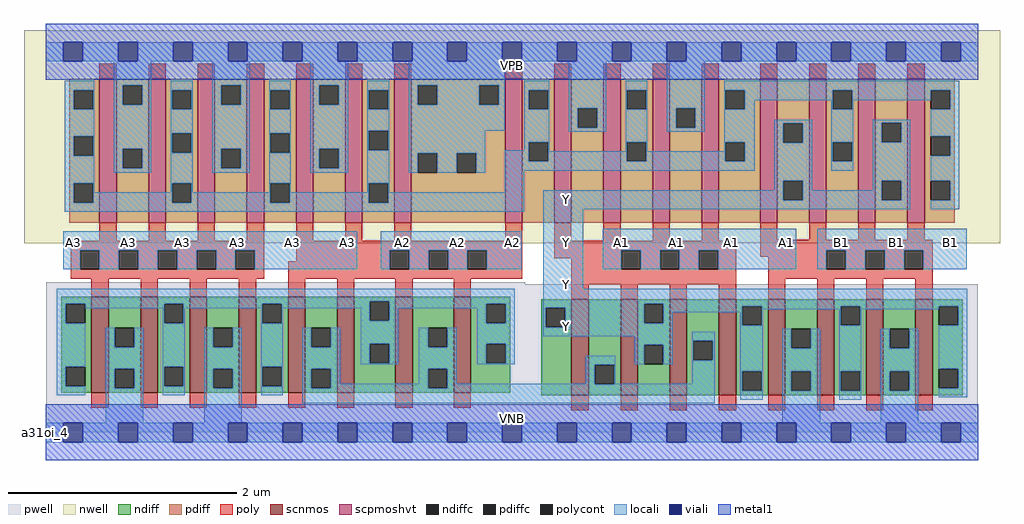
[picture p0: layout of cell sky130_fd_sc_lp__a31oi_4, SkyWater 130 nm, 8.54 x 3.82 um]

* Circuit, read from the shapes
.subckt sky130_fd_sc_lp__a31oi_4 A1 A2 A3 B1 VGND VNB VPB VPWR Y
XM1 VGND A3 n1 VNB sky130_fd_pr__nfet_01v8 w=0.84 l=0.15 m=4
XM2 n2 A2 n1 VNB sky130_fd_pr__nfet_01v8 w=0.84 l=0.15 m=4
XM3 n2 A1 Y VNB sky130_fd_pr__nfet_01v8 w=0.84 l=0.15 m=4
XM4 VGND B1 Y VNB sky130_fd_pr__nfet_01v8 w=0.84 l=0.15 m=4
XM5 VPWR A3 n3 VPB sky130_fd_pr__pfet_01v8_hvt w=1.26 l=0.15 m=4
XM6 VPWR A2 n3 VPB sky130_fd_pr__pfet_01v8_hvt w=1.26 l=0.15 m=4
XM7 VPWR A1 n3 VPB sky130_fd_pr__pfet_01v8_hvt w=1.26 l=0.15 m=4
XM8 Y B1 n3 VPB sky130_fd_pr__pfet_01v8_hvt w=1.26 l=0.15 m=4
.ends

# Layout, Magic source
magic
tech sky130A
magscale 1 2
<< nwell >>
rect -38 331 1670 704
<< pwell >>
rect 1 259 839 263
rect 1 49 1631 259
rect 0 0 1632 49
<< scnmos >>
rect 80 69 110 237
rect 166 69 196 237
rect 252 69 282 237
rect 338 69 368 237
rect 424 69 454 237
rect 510 69 540 237
rect 612 69 642 237
rect 714 69 744 237
rect 920 65 950 233
rect 1006 65 1036 233
rect 1092 65 1122 233
rect 1178 65 1208 233
rect 1264 65 1294 233
rect 1350 65 1380 233
rect 1436 65 1466 233
rect 1522 65 1552 233
<< scpmoshvt >>
rect 94 367 124 619
rect 180 367 210 619
rect 266 367 296 619
rect 352 367 382 619
rect 438 367 468 619
rect 524 367 554 619
rect 610 367 640 619
rect 804 367 834 619
rect 890 367 920 619
rect 976 367 1006 619
rect 1062 367 1092 619
rect 1148 367 1178 619
rect 1250 367 1280 619
rect 1336 367 1366 619
rect 1422 367 1452 619
rect 1508 367 1538 619
<< ndiff >>
rect 27 225 80 237
rect 27 191 35 225
rect 69 191 80 225
rect 27 115 80 191
rect 27 81 35 115
rect 69 81 80 115
rect 27 69 80 81
rect 110 183 166 237
rect 110 149 121 183
rect 155 149 166 183
rect 110 111 166 149
rect 110 77 121 111
rect 155 77 166 111
rect 110 69 166 77
rect 196 225 252 237
rect 196 191 207 225
rect 241 191 252 225
rect 196 115 252 191
rect 196 81 207 115
rect 241 81 252 115
rect 196 69 252 81
rect 282 183 338 237
rect 282 149 293 183
rect 327 149 338 183
rect 282 111 338 149
rect 282 77 293 111
rect 327 77 338 111
rect 282 69 338 77
rect 368 225 424 237
rect 368 191 379 225
rect 413 191 424 225
rect 368 115 424 191
rect 368 81 379 115
rect 413 81 424 115
rect 368 69 424 81
rect 454 183 510 237
rect 454 149 465 183
rect 499 149 510 183
rect 454 111 510 149
rect 454 77 465 111
rect 499 77 510 111
rect 454 69 510 77
rect 540 229 612 237
rect 540 195 567 229
rect 601 195 612 229
rect 540 155 612 195
rect 540 121 567 155
rect 601 121 612 155
rect 540 69 612 121
rect 642 183 714 237
rect 642 149 669 183
rect 703 149 714 183
rect 642 111 714 149
rect 642 77 669 111
rect 703 77 714 111
rect 642 69 714 77
rect 744 225 813 237
rect 744 191 771 225
rect 805 191 813 225
rect 744 155 813 191
rect 744 121 771 155
rect 805 121 813 155
rect 744 69 813 121
rect 867 218 920 233
rect 867 184 875 218
rect 909 184 920 218
rect 867 65 920 184
rect 950 118 1006 233
rect 950 84 961 118
rect 995 84 1006 118
rect 950 65 1006 84
rect 1036 225 1092 233
rect 1036 191 1047 225
rect 1081 191 1092 225
rect 1036 153 1092 191
rect 1036 119 1047 153
rect 1081 119 1092 153
rect 1036 65 1092 119
rect 1122 160 1178 233
rect 1122 126 1133 160
rect 1167 126 1178 160
rect 1122 65 1178 126
rect 1208 221 1264 233
rect 1208 187 1219 221
rect 1253 187 1264 221
rect 1208 107 1264 187
rect 1208 73 1219 107
rect 1253 73 1264 107
rect 1208 65 1264 73
rect 1294 181 1350 233
rect 1294 147 1305 181
rect 1339 147 1350 181
rect 1294 107 1350 147
rect 1294 73 1305 107
rect 1339 73 1350 107
rect 1294 65 1350 73
rect 1380 221 1436 233
rect 1380 187 1391 221
rect 1425 187 1436 221
rect 1380 107 1436 187
rect 1380 73 1391 107
rect 1425 73 1436 107
rect 1380 65 1436 73
rect 1466 181 1522 233
rect 1466 147 1477 181
rect 1511 147 1522 181
rect 1466 107 1522 147
rect 1466 73 1477 107
rect 1511 73 1522 107
rect 1466 65 1522 73
rect 1552 221 1605 233
rect 1552 187 1563 221
rect 1597 187 1605 221
rect 1552 111 1605 187
rect 1552 77 1563 111
rect 1597 77 1605 111
rect 1552 65 1605 77
<< pdiff >>
rect 41 599 94 619
rect 41 565 49 599
rect 83 565 94 599
rect 41 518 94 565
rect 41 484 49 518
rect 83 484 94 518
rect 41 436 94 484
rect 41 402 49 436
rect 83 402 94 436
rect 41 367 94 402
rect 124 607 180 619
rect 124 573 135 607
rect 169 573 180 607
rect 124 496 180 573
rect 124 462 135 496
rect 169 462 180 496
rect 124 367 180 462
rect 210 599 266 619
rect 210 565 221 599
rect 255 565 266 599
rect 210 523 266 565
rect 210 489 221 523
rect 255 489 266 523
rect 210 436 266 489
rect 210 402 221 436
rect 255 402 266 436
rect 210 367 266 402
rect 296 607 352 619
rect 296 573 307 607
rect 341 573 352 607
rect 296 496 352 573
rect 296 462 307 496
rect 341 462 352 496
rect 296 367 352 462
rect 382 599 438 619
rect 382 565 393 599
rect 427 565 438 599
rect 382 523 438 565
rect 382 489 393 523
rect 427 489 438 523
rect 382 436 438 489
rect 382 402 393 436
rect 427 402 438 436
rect 382 367 438 402
rect 468 607 524 619
rect 468 573 479 607
rect 513 573 524 607
rect 468 496 524 573
rect 468 462 479 496
rect 513 462 524 496
rect 468 367 524 462
rect 554 599 610 619
rect 554 565 565 599
rect 599 565 610 599
rect 554 528 610 565
rect 554 494 565 528
rect 599 494 610 528
rect 554 436 610 494
rect 554 402 565 436
rect 599 402 610 436
rect 554 367 610 402
rect 640 607 804 619
rect 640 573 651 607
rect 685 573 759 607
rect 793 573 804 607
rect 640 488 804 573
rect 640 454 651 488
rect 685 454 719 488
rect 753 454 804 488
rect 640 367 804 454
rect 834 599 890 619
rect 834 565 845 599
rect 879 565 890 599
rect 834 508 890 565
rect 834 474 845 508
rect 879 474 890 508
rect 834 367 890 474
rect 920 567 976 619
rect 920 533 931 567
rect 965 533 976 567
rect 920 367 976 533
rect 1006 599 1062 619
rect 1006 565 1017 599
rect 1051 565 1062 599
rect 1006 508 1062 565
rect 1006 474 1017 508
rect 1051 474 1062 508
rect 1006 367 1062 474
rect 1092 567 1148 619
rect 1092 533 1103 567
rect 1137 533 1148 567
rect 1092 367 1148 533
rect 1178 599 1250 619
rect 1178 565 1189 599
rect 1223 565 1250 599
rect 1178 508 1250 565
rect 1178 474 1189 508
rect 1223 474 1250 508
rect 1178 367 1250 474
rect 1280 541 1336 619
rect 1280 507 1291 541
rect 1325 507 1336 541
rect 1280 440 1336 507
rect 1280 406 1291 440
rect 1325 406 1336 440
rect 1280 367 1336 406
rect 1366 599 1422 619
rect 1366 565 1377 599
rect 1411 565 1422 599
rect 1366 508 1422 565
rect 1366 474 1377 508
rect 1411 474 1422 508
rect 1366 367 1422 474
rect 1452 542 1508 619
rect 1452 508 1463 542
rect 1497 508 1508 542
rect 1452 440 1508 508
rect 1452 406 1463 440
rect 1497 406 1508 440
rect 1452 367 1508 406
rect 1538 599 1591 619
rect 1538 565 1549 599
rect 1583 565 1591 599
rect 1538 518 1591 565
rect 1538 484 1549 518
rect 1583 484 1591 518
rect 1538 440 1591 484
rect 1538 406 1549 440
rect 1583 406 1591 440
rect 1538 367 1591 406
<< ndiffc >>
rect 35 191 69 225
rect 35 81 69 115
rect 121 149 155 183
rect 121 77 155 111
rect 207 191 241 225
rect 207 81 241 115
rect 293 149 327 183
rect 293 77 327 111
rect 379 191 413 225
rect 379 81 413 115
rect 465 149 499 183
rect 465 77 499 111
rect 567 195 601 229
rect 567 121 601 155
rect 669 149 703 183
rect 669 77 703 111
rect 771 191 805 225
rect 771 121 805 155
rect 875 184 909 218
rect 961 84 995 118
rect 1047 191 1081 225
rect 1047 119 1081 153
rect 1133 126 1167 160
rect 1219 187 1253 221
rect 1219 73 1253 107
rect 1305 147 1339 181
rect 1305 73 1339 107
rect 1391 187 1425 221
rect 1391 73 1425 107
rect 1477 147 1511 181
rect 1477 73 1511 107
rect 1563 187 1597 221
rect 1563 77 1597 111
<< pdiffc >>
rect 49 565 83 599
rect 49 484 83 518
rect 49 402 83 436
rect 135 573 169 607
rect 135 462 169 496
rect 221 565 255 599
rect 221 489 255 523
rect 221 402 255 436
rect 307 573 341 607
rect 307 462 341 496
rect 393 565 427 599
rect 393 489 427 523
rect 393 402 427 436
rect 479 573 513 607
rect 479 462 513 496
rect 565 565 599 599
rect 565 494 599 528
rect 565 402 599 436
rect 651 573 685 607
rect 759 573 793 607
rect 651 454 685 488
rect 719 454 753 488
rect 845 565 879 599
rect 845 474 879 508
rect 931 533 965 567
rect 1017 565 1051 599
rect 1017 474 1051 508
rect 1103 533 1137 567
rect 1189 565 1223 599
rect 1189 474 1223 508
rect 1291 507 1325 541
rect 1291 406 1325 440
rect 1377 565 1411 599
rect 1377 474 1411 508
rect 1463 508 1497 542
rect 1463 406 1497 440
rect 1549 565 1583 599
rect 1549 484 1583 518
rect 1549 406 1583 440
<< poly >>
rect 94 619 124 645
rect 180 619 210 645
rect 266 619 296 645
rect 352 619 382 645
rect 438 619 468 645
rect 524 619 554 645
rect 610 619 640 645
rect 804 619 834 645
rect 890 619 920 645
rect 976 619 1006 645
rect 1062 619 1092 645
rect 1148 619 1178 645
rect 1250 619 1280 645
rect 1336 619 1366 645
rect 1422 619 1452 645
rect 1508 619 1538 645
rect 94 335 124 367
rect 180 335 210 367
rect 266 335 296 367
rect 352 335 382 367
rect 44 319 382 335
rect 44 285 60 319
rect 94 285 128 319
rect 162 285 196 319
rect 230 285 264 319
rect 298 285 332 319
rect 366 285 382 319
rect 438 335 468 367
rect 524 335 554 367
rect 610 335 640 367
rect 804 335 834 367
rect 438 319 834 335
rect 438 299 602 319
rect 44 269 382 285
rect 424 285 602 299
rect 636 285 670 319
rect 704 285 738 319
rect 772 285 834 319
rect 890 335 920 367
rect 976 335 1006 367
rect 1062 335 1092 367
rect 1148 335 1178 367
rect 1250 337 1280 367
rect 1336 337 1366 367
rect 1422 337 1452 367
rect 1508 337 1538 367
rect 890 319 1208 335
rect 890 305 1007 319
rect 424 269 834 285
rect 920 285 1007 305
rect 1041 285 1075 319
rect 1109 285 1143 319
rect 1177 285 1208 319
rect 1250 319 1552 337
rect 1250 307 1366 319
rect 80 237 110 269
rect 166 237 196 269
rect 252 237 282 269
rect 338 237 368 269
rect 424 237 454 269
rect 510 237 540 269
rect 612 237 642 269
rect 714 237 744 269
rect 920 259 1208 285
rect 920 233 950 259
rect 1006 233 1036 259
rect 1092 233 1122 259
rect 1178 233 1208 259
rect 1264 285 1366 307
rect 1400 285 1434 319
rect 1468 285 1502 319
rect 1536 285 1552 319
rect 1264 269 1552 285
rect 1264 233 1294 269
rect 1350 233 1380 269
rect 1436 233 1466 269
rect 1522 233 1552 269
rect 80 43 110 69
rect 166 43 196 69
rect 252 43 282 69
rect 338 43 368 69
rect 424 43 454 69
rect 510 43 540 69
rect 612 43 642 69
rect 714 43 744 69
rect 920 39 950 65
rect 1006 39 1036 65
rect 1092 39 1122 65
rect 1178 39 1208 65
rect 1264 39 1294 65
rect 1350 39 1380 65
rect 1436 39 1466 65
rect 1522 39 1552 65
<< polycont >>
rect 60 285 94 319
rect 128 285 162 319
rect 196 285 230 319
rect 264 285 298 319
rect 332 285 366 319
rect 602 285 636 319
rect 670 285 704 319
rect 738 285 772 319
rect 1007 285 1041 319
rect 1075 285 1109 319
rect 1143 285 1177 319
rect 1366 285 1400 319
rect 1434 285 1468 319
rect 1502 285 1536 319
<< locali >>
rect 0 649 31 683
rect 65 649 127 683
rect 161 649 223 683
rect 257 649 319 683
rect 353 649 415 683
rect 449 649 511 683
rect 545 649 607 683
rect 641 649 703 683
rect 737 649 799 683
rect 833 649 895 683
rect 929 649 991 683
rect 1025 649 1087 683
rect 1121 649 1183 683
rect 1217 649 1279 683
rect 1313 649 1375 683
rect 1409 649 1471 683
rect 1505 649 1567 683
rect 1601 649 1632 683
rect 33 599 85 615
rect 33 565 49 599
rect 83 565 85 599
rect 33 518 85 565
rect 33 484 49 518
rect 83 484 85 518
rect 33 436 85 484
rect 119 607 185 649
rect 119 573 135 607
rect 169 573 185 607
rect 119 496 185 573
rect 119 462 135 496
rect 169 462 185 496
rect 119 454 185 462
rect 219 599 257 615
rect 219 565 221 599
rect 255 565 257 599
rect 219 523 257 565
rect 219 489 221 523
rect 255 489 257 523
rect 33 402 49 436
rect 83 420 85 436
rect 219 436 257 489
rect 291 607 357 649
rect 291 573 307 607
rect 341 573 357 607
rect 291 496 357 573
rect 291 462 307 496
rect 341 462 357 496
rect 291 454 357 462
rect 391 599 429 615
rect 391 565 393 599
rect 427 565 429 599
rect 391 523 429 565
rect 391 489 393 523
rect 427 489 429 523
rect 219 420 221 436
rect 83 402 221 420
rect 255 420 257 436
rect 391 436 429 489
rect 463 607 529 649
rect 463 573 479 607
rect 513 573 529 607
rect 463 496 529 573
rect 463 462 479 496
rect 513 462 529 496
rect 463 454 529 462
rect 563 599 601 615
rect 563 565 565 599
rect 599 565 601 599
rect 563 528 601 565
rect 563 494 565 528
rect 599 494 601 528
rect 391 420 393 436
rect 255 402 393 420
rect 427 420 429 436
rect 563 436 601 494
rect 635 607 803 649
rect 635 573 651 607
rect 685 573 759 607
rect 793 573 803 607
rect 635 528 803 573
rect 837 599 881 615
rect 837 565 845 599
rect 879 565 881 599
rect 635 488 769 528
rect 837 508 881 565
rect 915 567 981 649
rect 915 533 931 567
rect 965 533 981 567
rect 915 526 981 533
rect 1015 599 1053 615
rect 1015 565 1017 599
rect 1051 565 1053 599
rect 837 494 845 508
rect 635 454 651 488
rect 685 454 719 488
rect 753 454 769 488
rect 803 474 845 494
rect 879 492 881 508
rect 1015 508 1053 565
rect 1087 567 1153 649
rect 1087 533 1103 567
rect 1137 533 1153 567
rect 1087 526 1153 533
rect 1187 599 1599 615
rect 1187 565 1189 599
rect 1223 581 1377 599
rect 1223 565 1241 581
rect 1015 492 1017 508
rect 879 474 1017 492
rect 1051 492 1053 508
rect 1187 508 1241 565
rect 1375 565 1377 581
rect 1411 581 1549 599
rect 1411 565 1413 581
rect 1187 492 1189 508
rect 1051 474 1189 492
rect 1223 474 1241 508
rect 803 458 1241 474
rect 1275 541 1341 547
rect 1275 507 1291 541
rect 1325 507 1341 541
rect 563 420 565 436
rect 427 402 565 420
rect 599 420 601 436
rect 803 420 837 458
rect 1275 440 1341 507
rect 1375 508 1413 565
rect 1583 565 1599 599
rect 1375 474 1377 508
rect 1411 474 1413 508
rect 1375 458 1413 474
rect 1447 542 1513 547
rect 1447 508 1463 542
rect 1497 508 1513 542
rect 1275 424 1291 440
rect 599 402 837 420
rect 33 386 837 402
rect 871 406 1291 424
rect 1325 424 1341 440
rect 1447 440 1513 508
rect 1447 424 1463 440
rect 1325 406 1463 424
rect 1497 406 1513 440
rect 871 390 1513 406
rect 1549 518 1599 565
rect 1583 484 1599 518
rect 1549 440 1599 484
rect 1583 406 1599 440
rect 1549 390 1599 406
rect 31 319 545 352
rect 31 285 60 319
rect 94 285 128 319
rect 162 285 196 319
rect 230 285 264 319
rect 298 285 332 319
rect 366 285 545 319
rect 586 319 833 352
rect 586 285 602 319
rect 636 285 670 319
rect 704 285 738 319
rect 772 285 833 319
rect 871 251 941 390
rect 975 319 1313 356
rect 975 285 1007 319
rect 1041 285 1075 319
rect 1109 285 1143 319
rect 1177 285 1313 319
rect 1350 319 1612 356
rect 1350 285 1366 319
rect 1400 285 1434 319
rect 1468 285 1502 319
rect 1536 285 1612 319
rect 19 229 821 251
rect 19 225 567 229
rect 19 191 35 225
rect 69 217 207 225
rect 19 115 69 191
rect 205 191 207 217
rect 241 217 379 225
rect 241 191 243 217
rect 19 81 35 115
rect 19 65 69 81
rect 105 149 121 183
rect 155 149 171 183
rect 105 111 171 149
rect 105 77 121 111
rect 155 77 171 111
rect 105 17 171 77
rect 205 115 243 191
rect 377 191 379 217
rect 413 217 567 225
rect 413 191 415 217
rect 205 81 207 115
rect 241 81 243 115
rect 205 65 243 81
rect 277 149 293 183
rect 327 149 343 183
rect 277 111 343 149
rect 277 77 293 111
rect 327 77 343 111
rect 277 17 343 77
rect 377 115 415 191
rect 551 195 567 217
rect 601 225 821 229
rect 601 217 771 225
rect 601 195 617 217
rect 377 81 379 115
rect 413 81 415 115
rect 377 65 415 81
rect 449 149 465 183
rect 499 149 515 183
rect 449 111 515 149
rect 551 155 617 195
rect 755 191 771 217
rect 805 191 821 225
rect 551 121 567 155
rect 601 121 617 155
rect 551 119 617 121
rect 653 149 669 183
rect 703 149 719 183
rect 449 77 465 111
rect 499 85 515 111
rect 653 111 719 149
rect 755 155 821 191
rect 871 225 1613 251
rect 871 218 1047 225
rect 871 184 875 218
rect 909 191 1047 218
rect 1081 221 1613 225
rect 1081 210 1219 221
rect 1081 191 1097 210
rect 909 184 1097 191
rect 871 168 1097 184
rect 1215 187 1219 210
rect 1253 215 1391 221
rect 1253 187 1255 215
rect 755 121 771 155
rect 805 121 821 155
rect 1031 153 1097 168
rect 755 119 821 121
rect 653 85 669 111
rect 499 77 669 85
rect 703 85 719 111
rect 945 118 997 134
rect 1031 119 1047 153
rect 1081 119 1097 153
rect 1131 160 1171 176
rect 1131 126 1133 160
rect 1167 126 1171 160
rect 945 85 961 118
rect 703 84 961 85
rect 995 85 997 118
rect 1131 85 1171 126
rect 995 84 1171 85
rect 703 77 1171 84
rect 449 51 1171 77
rect 1215 107 1255 187
rect 1389 187 1391 215
rect 1425 215 1563 221
rect 1425 187 1427 215
rect 1215 73 1219 107
rect 1253 73 1255 107
rect 1215 57 1255 73
rect 1289 147 1305 181
rect 1339 147 1355 181
rect 1289 107 1355 147
rect 1289 73 1305 107
rect 1339 73 1355 107
rect 1289 17 1355 73
rect 1389 107 1427 187
rect 1597 187 1613 221
rect 1389 73 1391 107
rect 1425 73 1427 107
rect 1389 57 1427 73
rect 1461 147 1477 181
rect 1511 147 1527 181
rect 1461 107 1527 147
rect 1461 73 1477 107
rect 1511 73 1527 107
rect 1461 17 1527 73
rect 1563 111 1613 187
rect 1597 77 1613 111
rect 1563 61 1613 77
rect 0 -17 31 17
rect 65 -17 127 17
rect 161 -17 223 17
rect 257 -17 319 17
rect 353 -17 415 17
rect 449 -17 511 17
rect 545 -17 607 17
rect 641 -17 703 17
rect 737 -17 799 17
rect 833 -17 895 17
rect 929 -17 991 17
rect 1025 -17 1087 17
rect 1121 -17 1183 17
rect 1217 -17 1279 17
rect 1313 -17 1375 17
rect 1409 -17 1471 17
rect 1505 -17 1567 17
rect 1601 -17 1632 17
<< viali >>
rect 31 649 65 683
rect 127 649 161 683
rect 223 649 257 683
rect 319 649 353 683
rect 415 649 449 683
rect 511 649 545 683
rect 607 649 641 683
rect 703 649 737 683
rect 799 649 833 683
rect 895 649 929 683
rect 991 649 1025 683
rect 1087 649 1121 683
rect 1183 649 1217 683
rect 1279 649 1313 683
rect 1375 649 1409 683
rect 1471 649 1505 683
rect 1567 649 1601 683
rect 31 -17 65 17
rect 127 -17 161 17
rect 223 -17 257 17
rect 319 -17 353 17
rect 415 -17 449 17
rect 511 -17 545 17
rect 607 -17 641 17
rect 703 -17 737 17
rect 799 -17 833 17
rect 895 -17 929 17
rect 991 -17 1025 17
rect 1087 -17 1121 17
rect 1183 -17 1217 17
rect 1279 -17 1313 17
rect 1375 -17 1409 17
rect 1471 -17 1505 17
rect 1567 -17 1601 17
<< metal1 >>
rect 0 683 1632 715
rect 0 649 31 683
rect 65 649 127 683
rect 161 649 223 683
rect 257 649 319 683
rect 353 649 415 683
rect 449 649 511 683
rect 545 649 607 683
rect 641 649 703 683
rect 737 649 799 683
rect 833 649 895 683
rect 929 649 991 683
rect 1025 649 1087 683
rect 1121 649 1183 683
rect 1217 649 1279 683
rect 1313 649 1375 683
rect 1409 649 1471 683
rect 1505 649 1567 683
rect 1601 649 1632 683
rect 0 617 1632 649
rect 0 17 1632 49
rect 0 -17 31 17
rect 65 -17 127 17
rect 161 -17 223 17
rect 257 -17 319 17
rect 353 -17 415 17
rect 449 -17 511 17
rect 545 -17 607 17
rect 641 -17 703 17
rect 737 -17 799 17
rect 833 -17 895 17
rect 929 -17 991 17
rect 1025 -17 1087 17
rect 1121 -17 1183 17
rect 1217 -17 1279 17
rect 1313 -17 1375 17
rect 1409 -17 1471 17
rect 1505 -17 1567 17
rect 1601 -17 1632 17
rect 0 -49 1632 -17
<< labels >>
flabel pwell s 0 0 1632 49 0 FreeSans 200 0 0 0 VNB
port 6 nsew ground bidirectional
flabel nwell s 0 617 1632 666 0 FreeSans 200 0 0 0 VPB
port 7 nsew power bidirectional
rlabel comment s 0 0 0 0 4 a31oi_4
flabel metal1 s 0 617 1632 666 0 FreeSans 340 0 0 0 VPWR
port 8 nsew power bidirectional
flabel metal1 s 0 0 1632 49 0 FreeSans 340 0 0 0 VGND
port 5 nsew ground bidirectional
flabel locali s 991 316 1025 350 0 FreeSans 340 0 0 0 A1
port 1 nsew signal input
flabel locali s 1087 316 1121 350 0 FreeSans 340 0 0 0 A1
port 1 nsew signal input
flabel locali s 1183 316 1217 350 0 FreeSans 340 0 0 0 A1
port 1 nsew signal input
flabel locali s 1279 316 1313 350 0 FreeSans 340 0 0 0 A1
port 1 nsew signal input
flabel locali s 607 316 641 350 0 FreeSans 340 0 0 0 A2
port 2 nsew signal input
flabel locali s 703 316 737 350 0 FreeSans 340 0 0 0 A2
port 2 nsew signal input
flabel locali s 799 316 833 350 0 FreeSans 340 0 0 0 A2
port 2 nsew signal input
flabel locali s 31 316 65 350 0 FreeSans 340 0 0 0 A3
port 3 nsew signal input
flabel locali s 127 316 161 350 0 FreeSans 340 0 0 0 A3
port 3 nsew signal input
flabel locali s 223 316 257 350 0 FreeSans 340 0 0 0 A3
port 3 nsew signal input
flabel locali s 319 316 353 350 0 FreeSans 340 0 0 0 A3
port 3 nsew signal input
flabel locali s 415 316 449 350 0 FreeSans 340 0 0 0 A3
port 3 nsew signal input
flabel locali s 511 316 545 350 0 FreeSans 340 0 0 0 A3
port 3 nsew signal input
flabel locali s 1375 316 1409 350 0 FreeSans 340 0 0 0 B1
port 4 nsew signal input
flabel locali s 1471 316 1505 350 0 FreeSans 340 0 0 0 B1
port 4 nsew signal input
flabel locali s 1567 316 1601 350 0 FreeSans 340 0 0 0 B1
port 4 nsew signal input
flabel locali s 895 168 929 202 0 FreeSans 340 0 0 0 Y
port 9 nsew signal output
flabel locali s 895 242 929 276 0 FreeSans 340 0 0 0 Y
port 9 nsew signal output
flabel locali s 895 316 929 350 0 FreeSans 340 0 0 0 Y
port 9 nsew signal output
flabel locali s 895 390 929 424 0 FreeSans 340 0 0 0 Y
port 9 nsew signal output
<< properties >>
string LEFsite unit
string LEFclass CORE
string FIXED_BBOX 0 0 1632 666
string GDS_FILE $PDKPATH/libs.ref/sky130_fd_sc_lp/gds/sky130_fd_sc_lp.gds
string LEFsymmetry X Y R90
string GDS_END 3418222
string GDS_START 3403704
<< end >>
